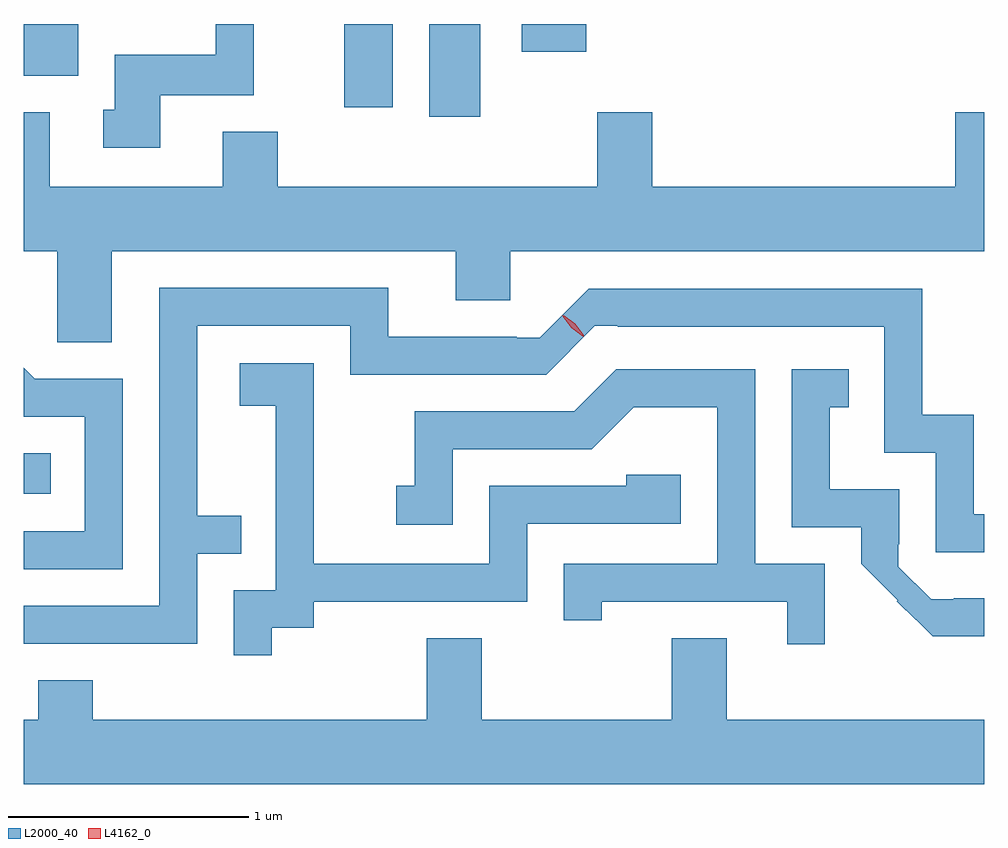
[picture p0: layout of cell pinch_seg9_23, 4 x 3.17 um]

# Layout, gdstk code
import gdstk
lib = gdstk.Library(unit=1e-6, precision=1e-09)
def R(c, l, rs):  # rectangles x0, y0, x1, y1
    for r in rs: c.add(gdstk.rectangle(r[:2], r[2:], *l))
def P(c, l, *ps):  # polygons
    for p in ps: c.add(gdstk.Polygon(p, *l))
L2000_40 = (2000, 40)
L4162_0 = (4162, 0)

pinch_seg9_23 = lib.new_cell('pinch_seg9_23')
R(pinch_seg9_23, L2000_40, [(857.022,2044.086,857.133,2044.254), (858.711,2045.656,858.924,2046.042), (858.356,2045.696,858.559,2046.042), (857.022,2045.826,857.249,2046.042), (859.096,2045.926,859.364,2046.042)])
P(pinch_seg9_23, L2000_40, [(857.589,2045.746),(857.979,2045.746),(857.979,2046.042),(857.821,2046.042),(857.821,2045.914),(857.401,2045.914),(857.401,2045.684),(857.353,2045.684),(857.353,2045.526),(857.589,2045.526)],
  [(857.389,2045.096),(858.821,2045.096),(858.821,2044.891),(859.049,2044.891),(859.049,2045.096),(861.022,2045.096),(861.022,2045.674),(860.901,2045.674),(860.901,2045.364),(859.639,2045.364),(859.639,2045.674),(859.411,2045.674),(859.411,2045.364),(858.079,2045.364),(858.079,2045.594),(857.851,2045.594),(857.851,2045.364),(857.129,2045.364),(857.129,2045.674),(857.022,2045.674),(857.022,2045.096),(857.161,2045.096),(857.161,2044.716),(857.389,2044.716)],
  [(857.744,2043.836),(857.928,2043.836),(857.928,2043.994),(857.744,2043.994),(857.744,2044.786),(858.381,2044.786),(858.381,2044.581),(859.197,2044.581),(859.401,2044.785),(859.495,2044.785),(859.495,2044.781),(860.606,2044.781),(860.606,2044.256),(860.821,2044.256),(860.821,2043.841),(861.022,2043.841),(861.022,2043.999),(860.979,2043.999),(860.979,2044.414),(860.764,2044.414),(860.764,2044.939),(859.375,2044.939),(859.171,2044.735),(859.076,2044.735),(859.076,2044.739),(858.539,2044.739),(858.539,2044.944),(857.586,2044.944),(857.586,2043.619),(857.022,2043.619),(857.022,2043.461),(857.744,2043.461)],
  [(858.054,2043.526),(858.229,2043.526),(858.229,2043.636),(859.119,2043.636),(859.119,2043.961),(859.759,2043.961),(859.759,2044.164),(859.531,2044.164),(859.531,2044.119),(858.961,2044.119),(858.961,2043.794),(858.229,2043.794),(858.229,2044.629),(857.921,2044.629),(857.921,2044.451),(858.071,2044.451),(858.071,2043.684),(857.896,2043.684),(857.896,2043.413),(858.054,2043.413)],
  [(857.434,2044.564),(857.067,2044.564),(857.022,2044.609),(857.022,2044.406),(857.276,2044.406),(857.276,2043.929),(857.022,2043.929),(857.022,2043.771),(857.434,2043.771)],
  [(860.359,2043.794),(860.069,2043.794),(860.069,2044.604),(859.489,2044.604),(859.314,2044.429),(858.651,2044.429),(858.651,2044.119),(858.573,2044.119),(858.573,2043.956),(858.809,2043.956),(858.809,2044.271),(859.387,2044.271),(859.562,2044.446),(859.911,2044.446),(859.911,2043.794),(859.271,2043.794),(859.271,2043.558),(859.429,2043.558),(859.429,2043.636),(860.201,2043.636),(860.201,2043.458),(860.359,2043.458)],
  [(861.022,2043.649),(860.895,2043.649),(860.895,2043.645),(860.801,2043.645),(860.665,2043.781),(860.665,2043.875),(860.669,2043.875),(860.669,2044.104),(860.379,2044.104),(860.379,2044.446),(860.458,2044.446),(860.458,2044.604),(860.221,2044.604),(860.221,2043.946),(860.511,2043.946),(860.511,2043.793),(860.662,2043.642),(860.658,2043.638),(860.737,2043.56),(860.739,2043.561),(860.809,2043.491),(861.022,2043.491)],
  [(861.022,2043.144),(859.949,2043.144),(859.949,2043.484),(859.721,2043.484),(859.721,2043.144),(858.929,2043.144),(858.929,2043.484),(858.701,2043.484),(858.701,2043.144),(857.309,2043.144),(857.309,2043.309),(857.081,2043.309),(857.081,2043.144),(857.022,2043.144),(857.022,2042.876),(861.022,2042.876)])
P(pinch_seg9_23, L4162_0, [(859.353,2044.739),(859.302,2044.776),(859.265,2044.827),(859.265,2044.828),(859.265,2044.828),(859.316,2044.79),(859.354,2044.74),(859.354,2044.739)],
  [(859.353,2044.744),(859.305,2044.779),(859.27,2044.827),(859.27,2044.828),(859.271,2044.828),(859.319,2044.793),(859.354,2044.745),(859.354,2044.744)])

lib.write_gds('pinch_seg9_23.gds')
